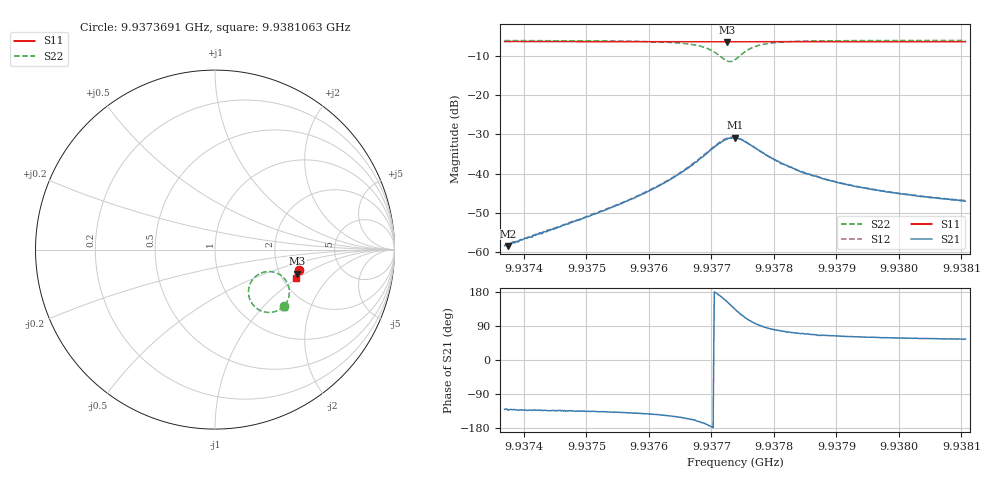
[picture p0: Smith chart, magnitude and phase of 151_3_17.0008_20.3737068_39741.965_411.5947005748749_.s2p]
#  HZ  S  RI  R  50.00
! Rohde & Schwarz Vector Network Analyzer
! Rohde-Schwarz,ZNB20-2Port,1311601062101988,3.16
! Created: UTC 3/20/2024, 10:58:51 PM
! freq[Hz]  re:S11  im:S11  re:S21  im:S21  re:S12  im:S12  re:S22  im:S22
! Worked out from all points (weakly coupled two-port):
!   401 points, 9.9373691 GHz to 9.9381063 GHz, reference 50 ohm
!   highest |S21| = -30.87 dB at 9.9377377 GHz (marker M1); lowest = -58.4 dB at 9.9373746 GHz (marker M2)
!   lowest |S11| = -6.4 dB at 9.9377248 GHz (marker M3), VSWR 2.83, Z = 124 - j43 ohm
!   |S11| at or under -10 dB: nowhere
!   |S22| runs from -11.4 to -6.0 dB; largest |S21 - S12| = 0.0013
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9.93736909e9  0.4701 -0.1109  -0.000777 -0.000925  -0.0008 -0.000881  0.3841 -0.3154
9.93737462e9  0.4702 -0.1111  -0.000814 -0.000884  -0.000858 -0.000948  0.3834 -0.316
9.93749256e9  0.4676 -0.1193  -0.00187 -0.00189  -0.00194 -0.00189  0.3685 -0.3283
9.93756444e9  0.4659 -0.1242  -0.00339 -0.00293  -0.00345 -0.00293  0.3518 -0.338
9.93761604e9  0.4645 -0.1278  -0.00572 -0.00405  -0.00586 -0.00403  0.329 -0.3465
9.93764922e9  0.4634 -0.13  -0.00876 -0.00483  -0.00903 -0.00481  0.3017 -0.3501
9.93768423e9  0.4618 -0.1324  -0.0155 -0.00399  -0.016 -0.00398  0.247 -0.3365
9.9377045e9  0.4605 -0.1334  -0.0218 0.000204  -0.0223 0.000855  0.2014 -0.2925
9.93771556e9  0.4597 -0.1336  -0.0246 0.00558  -0.0251 0.0066  0.1869 -0.2433
9.93772478e9  0.4593 -0.1333  -0.0247 0.012  -0.0248 0.0133  0.1955 -0.1917
9.93773031e9  0.4594 -0.1333  -0.0233 0.0161  -0.0233 0.0173  0.2134 -0.1628
9.93773768e9  0.4596 -0.1332  -0.0199 0.0206  -0.0193 0.0216  0.2492 -0.1344
9.93774689e9  0.46 -0.1332  -0.0139 0.0236  -0.0131 0.0243  0.3008 -0.1221
9.93775979e9  0.4606 -0.1339  -0.00617 0.0229  -0.00566 0.0234  0.3584 -0.138
9.93778006e9  0.461 -0.1356  0.00025 0.0189  0.000596 0.0189  0.4012 -0.1822
9.93781508e9  0.4606 -0.1385  0.00323 0.0128  0.00371 0.0128  0.4148 -0.2357
9.93784457e9  0.46 -0.1407  0.00364 0.00982  0.00396 0.00999  0.4124 -0.2604
9.93786115e9  0.4596 -0.1419  0.00363 0.0087  0.00398 0.00868  0.4101 -0.2699
9.93790723e9  0.4585 -0.1452  0.00346 0.00669  0.00359 0.00672  0.4031 -0.2877
9.93798463e9  0.4566 -0.1503  0.00303 0.00495  0.00311 0.00496  0.3937 -0.3047
9.93804176e9  0.4552 -0.1541  0.00276 0.00426  0.00289 0.00423  0.3878 -0.313
9.93810627e9  0.4535 -0.1583  0.00255 0.00365  0.00267 0.00365  0.3823 -0.3199
